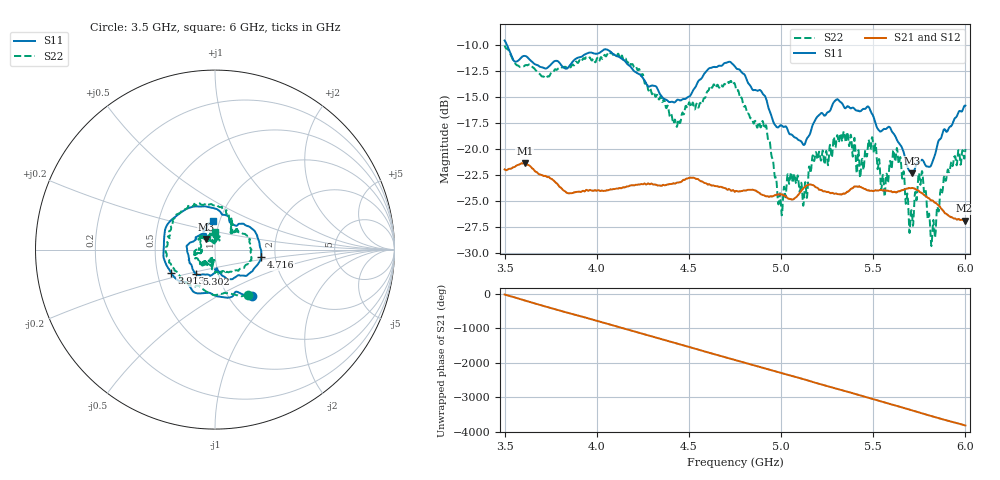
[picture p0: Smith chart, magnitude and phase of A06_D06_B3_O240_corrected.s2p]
! Created with skrf 1.9.0 (http://scikit-rf.org).
# Hz S RI R 50.0
!freq ReS11 ImS11 ReS21 ImS21 ReS12 ImS12 ReS22 ImS22
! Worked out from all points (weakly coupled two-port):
!   1601 points, 3.5 GHz to 6 GHz, reference 50 ohm
!   highest |S21| = -21.37 dB at 3.609 GHz (marker M1); lowest = -26.9 dB at 5.995 GHz (marker M2)
!   lowest |S11| = -22.3 dB at 5.711 GHz (marker M3), VSWR 1.17, Z = 45 + j5.32 ohm
!   |S11| at or under -10 dB: 3.512 GHz to end of sweep
!   |S22| runs from -29.3 to -10.1 dB; largest |S21 - S12| = 0.00094
!   S11 on the Smith chart (normalised r, x): 3.5 GHz: 1.27, -0.74; 3.913 GHz: 0.59, -0.17; 4.716 GHz: 1.69, -0.15; 5.302 GHz: 0.78, -0.22; 6 GHz: 0.93, +0.31
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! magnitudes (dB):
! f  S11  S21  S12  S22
! 3.5 GHz  -9.6  -22.0  -22.0  -10.1
! 3.609 GHz  -11.1  -21.4  -21.4  -12.0
! 3.913 GHz  -11.2  -24.1  -24.1  -11.6
! 3.917 GHz  -11.2  -24.1  -24.1  -11.6
! 4.127 GHz  -11.2  -23.8  -23.7  -11.3
! 4.334 GHz  -14.4  -23.5  -23.4  -15.2
! 4.442 GHz  -15.3  -23.2  -23.2  -17.2
! 4.716 GHz  -11.7  -23.9  -23.9  -13.7
! 4.75 GHz  -12.1  -24.1  -24.0  -13.8
! 4.911 GHz  -14.9  -24.5  -24.4  -18.0
! 4.995 GHz  -17.7  -24.4  -24.3  -24.3
! 5.13 GHz  -19.5  -23.7  -23.6  -23.3
! 5.167 GHz  -17.9  -23.5  -23.4  -21.1
! 5.302 GHz  -15.3  -24.3  -24.3  -19.0
! 5.584 GHz  -17.9  -24.1  -24.0  -22.4
! 5.638 GHz  -19.4  -24.1  -24.0  -21.4
! 5.711 GHz  -22.3  -23.8  -23.7  -26.4
! 5.758 GHz  -21.1  -24.2  -24.1  -23.2
! 5.825 GHz  -21.1  -25.0  -25.0  -26.9
! 5.894 GHz  -18.3  -26.2  -26.1  -23.1
! 5.995 GHz  -15.9  -26.9  -26.8  -20.8
! 6 GHz  -15.8  -26.9  -26.8  -20.0
